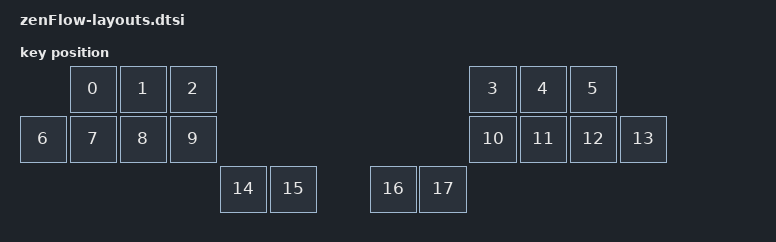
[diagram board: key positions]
#include <physical_layouts.dtsi>

/ {
    physical_layout0: physical_layout_0 {
        compatible = "zmk,physical-layout";
        display-name = "Default";

        keys  //                     w   h    x    y     rot    rx    ry
            = <&key_physical_attrs 100 100  100    0       0     0     0>
            , <&key_physical_attrs 100 100  200    0       0     0     0>
            , <&key_physical_attrs 100 100  300    0       0     0     0>
            , <&key_physical_attrs 100 100  900    0       0     0     0>
            , <&key_physical_attrs 100 100 1000    0       0     0     0>
            , <&key_physical_attrs 100 100 1100    0       0     0     0>
            , <&key_physical_attrs 100 100    0  100       0     0     0>
            , <&key_physical_attrs 100 100  100  100       0     0     0>
            , <&key_physical_attrs 100 100  200  100       0     0     0>
            , <&key_physical_attrs 100 100  300  100       0     0     0>
            , <&key_physical_attrs 100 100  900  100       0     0     0>
            , <&key_physical_attrs 100 100 1000  100       0     0     0>
            , <&key_physical_attrs 100 100 1100  100       0     0     0>
            , <&key_physical_attrs 100 100 1200  100       0     0     0>
            , <&key_physical_attrs 100 100  400  200       0     0     0>
            , <&key_physical_attrs 100 100  500  200       0     0     0>
            , <&key_physical_attrs 100 100  700  200       0     0     0>
            , <&key_physical_attrs 100 100  800  200       0     0     0>
            ;
    };
};
